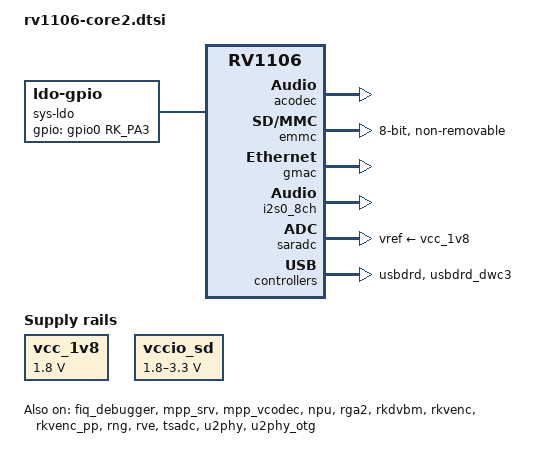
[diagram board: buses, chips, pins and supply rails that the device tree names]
// SPDX-License-Identifier: (GPL-2.0+ OR MIT)
/*
 * Copyright (c) 2024 Guangzhou EASY EAI Technology Co., Ltd.
 */

#include "rv1106g3.dtsi"
#include "rv1106-amp.dtsi"
#include <dt-bindings/input/input.h>

/ {
	chosen {
		bootargs = "earlycon=uart8250,mmio32,0xff4c0000 console=ttyFIQ0 root=/dev/mmcblk0p5 rootfstype=ext4 rootwait snd_soc_core.prealloc_buffer_size_kbytes=16 coherent_pool=0";
	};

	acodec_sound: acodec-sound {
		compatible = "simple-audio-card";
		simple-audio-card,name = "rv1106-acodec";
		simple-audio-card,format = "i2s";
		simple-audio-card,mclk-fs = <256>;
		simple-audio-card,cpu {
			sound-dai = <&i2s0_8ch>;
		};
		simple-audio-card,codec {
			sound-dai = <&acodec>;
		};
	};

	restart-poweroff {
		compatible = "restart-poweroff";
	};

	vcc_1v8: vcc-1v8 {
		compatible = "regulator-fixed";
		regulator-name = "vcc_1v8";
		regulator-always-on;
		regulator-boot-on;
		regulator-min-microvolt = <1800000>;
		regulator-max-microvolt = <1800000>;
	};

	vccio_sd: vccio-sd {
		compatible = "regulator-gpio";
		regulator-name = "vccio_sd";
		regulator-min-microvolt = <1800000>;
		regulator-max-microvolt = <3300000>;
		gpios = <&gpio3 RK_PD3 GPIO_ACTIVE_HIGH>;
		states = <3300000 1
			  1800000 0>;
		pinctrl-names = "default";
		pinctrl-0 = <&sdmmc_volt>;
	};

	sys-ldo {
		compatible = "linux,ldo-gpio";
		pinctrl-names = "default";
		pinctrl-0 = <&multi_pwr_en>;
		gpios = <&gpio0 RK_PA3 GPIO_ACTIVE_HIGH>;
	};

	/* vcc_multi: vccio-multi {
		compatible = "regulator-fixed";
		regulator-name = "vcc_multi";
		regulator-min-microvolt = <3300000>;
		regulator-max-microvolt = <3300000>;
		gpios = <&gpio0 RK_PA3 GPIO_ACTIVE_HIGH>;
		pinctrl-names = "default";
		pinctrl-0 = <&multi_pwr_en>;
		enable-active-high;
		regulator-boot-on;
		regulator-always-on;
		regulator-state-mem {
			regulator-off-in-suspend;
		};
	}; */
};

&acodec {
	#sound-dai-cells = <0>;
	status = "okay";
};

&emmc {
	bus-width = <8>;
	cap-mmc-highspeed;
	non-removable;
	mmc-ddr-1_8v;
	mmc-hs200-1_8v;
	rockchip,default-sample-phase = <90>;
	no-sdio;
	no-sd;
	status = "okay";
};

&fiq_debugger {
	rockchip,irq-mode-enable = <1>;
	status = "okay";
};

&gmac {
	status = "okay";
};

&i2s0_8ch {
	#sound-dai-cells = <0>;
	status = "okay";
};

&mpp_srv {
	status = "okay";
};

&mpp_vcodec {
	status = "okay";
};

&npu {
	status = "okay";
};

&pinctrl {
	sdmmc {
	/omit-if-no-ref/
		sdmmc_volt: sdmmc-volt {
			rockchip,pins = <3 RK_PD3 RK_FUNC_GPIO &pcfg_pull_none>;
		};
	};
	power {
	/omit-if-no-ref/
		multi_pwr_en: multi-pwr-en {
			rockchip,pins = <0 RK_PA3 RK_FUNC_GPIO &pcfg_pull_none>;
		};
	};
};

&rga2 {
	status = "okay";
};

&rkdvbm {
	status = "okay";
};

&rkvenc {
	status = "okay";
};

&rkvenc_pp {
	status = "okay";
};

&rmii_phy {
	bgs,increment = <0>;
};

&rng {
	status = "okay";
};

&rtc {
	status = "disabled";
};

&rve {
	status = "okay";
};

&saradc {
	status = "okay";
	vref-supply = <&vcc_1v8>;
};

&tsadc {
	status = "okay";
};

&u2phy {
	status = "okay";
};

&u2phy_otg {
	status = "okay";
};

&usbdrd {
	status = "okay";
};

&usbdrd_dwc3 {
	extcon = <&u2phy>;
	status = "okay";
};
